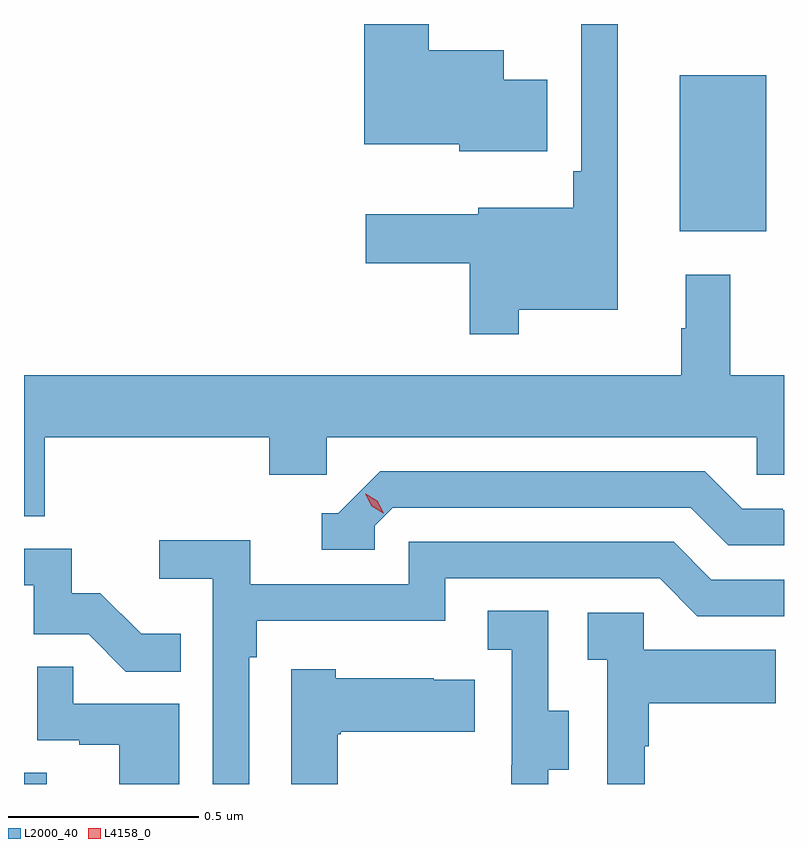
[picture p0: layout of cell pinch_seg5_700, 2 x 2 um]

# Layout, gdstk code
import gdstk
lib = gdstk.Library(unit=1e-6, precision=1e-09)
def R(c, l, rs):  # rectangles x0, y0, x1, y1
    for r in rs: c.add(gdstk.rectangle(r[:2], r[2:], *l))
def P(c, l, *ps):  # polygons
    for p in ps: c.add(gdstk.Polygon(p, *l))
L2000_40 = (2000, 40)
L4158_0 = (4158, 0)

pinch_seg5_700 = lib.new_cell('pinch_seg5_700')
R(pinch_seg5_700, L2000_40, [(1082.407,833.204,1082.467,833.234), (1084.133,834.659,1084.36,835.069)])
P(pinch_seg5_700, L2000_40, [(1083.784,835.057),(1083.67,835.057),(1083.67,835.135),(1083.472,835.135),(1083.472,835.204),(1083.302,835.204),(1083.302,834.887),(1083.552,834.887),(1083.552,834.869),(1083.784,834.869)],
  [(1083.709,834.452),(1083.97,834.452),(1083.97,835.204),(1083.873,835.204),(1083.873,834.817),(1083.853,834.817),(1083.853,834.721),(1083.603,834.721),(1083.603,834.703),(1083.306,834.703),(1083.306,834.574),(1083.58,834.574),(1083.58,834.387),(1083.709,834.387)],
  [(1082.462,834.116),(1083.053,834.116),(1083.053,834.018),(1083.204,834.018),(1083.204,834.116),(1084.335,834.116),(1084.335,834.018),(1084.407,834.018),(1084.407,834.28),(1084.265,834.28),(1084.265,834.544),(1084.148,834.544),(1084.148,834.404),(1084.137,834.404),(1084.137,834.28),(1082.407,834.28),(1082.407,833.908),(1082.462,833.908)],
  [(1083.33,833.883),(1083.378,833.931),(1084.161,833.931),(1084.26,833.832),(1084.407,833.832),(1084.407,833.925),(1084.404,833.925),(1084.404,833.928),(1084.297,833.928),(1084.198,834.027),(1083.345,834.027),(1083.234,833.916),(1083.191,833.916),(1083.191,833.82),(1083.33,833.82)],
  [(1083,833.537),(1083.02,833.537),(1083.02,833.634),(1083.516,833.634),(1083.516,833.745),(1084.08,833.745),(1084.179,833.646),(1084.407,833.646),(1084.407,833.742),(1084.216,833.742),(1084.117,833.841),(1083.42,833.841),(1083.42,833.73),(1083.002,833.73),(1083.002,833.846),(1082.763,833.846),(1082.763,833.744),(1082.904,833.744),(1082.904,833.204),(1083,833.204)],
  [(1082.819,833.599),(1082.715,833.599),(1082.608,833.706),(1082.532,833.706),(1082.532,833.823),(1082.407,833.823),(1082.407,833.727),(1082.433,833.727),(1082.433,833.598),(1082.577,833.598),(1082.675,833.5),(1082.819,833.5)],
  [(1083.787,833.242),(1083.841,833.242),(1083.841,833.397),(1083.786,833.397),(1083.786,833.66),(1083.627,833.66),(1083.627,833.557),(1083.69,833.557),(1083.69,833.253),(1083.689,833.253),(1083.689,833.204),(1083.787,833.204)],
  [(1084.041,833.303),(1084.051,833.303),(1084.051,833.417),(1084.385,833.417),(1084.385,833.557),(1084.038,833.557),(1084.038,833.655),(1083.891,833.655),(1083.891,833.531),(1083.942,833.531),(1083.942,833.204),(1084.041,833.204)],
  [(1082.815,833.415),(1082.537,833.415),(1082.537,833.513),(1082.442,833.513),(1082.442,833.319),(1082.553,833.319),(1082.553,833.307),(1082.657,833.307),(1082.657,833.204),(1082.815,833.204)],
  [(1083.232,833.335),(1083.24,833.335),(1083.24,833.342),(1083.593,833.342),(1083.593,833.479),(1083.485,833.479),(1083.485,833.482),(1083.228,833.482),(1083.228,833.506),(1083.11,833.506),(1083.11,833.204),(1083.232,833.204)])
P(pinch_seg5_700, L4158_0, [(1083.353,833.916),(1083.322,833.935),(1083.305,833.968),(1083.305,833.968),(1083.306,833.968),(1083.337,833.949),(1083.354,833.916),(1083.354,833.916)])

lib.write_gds('pinch_seg5_700.gds')
